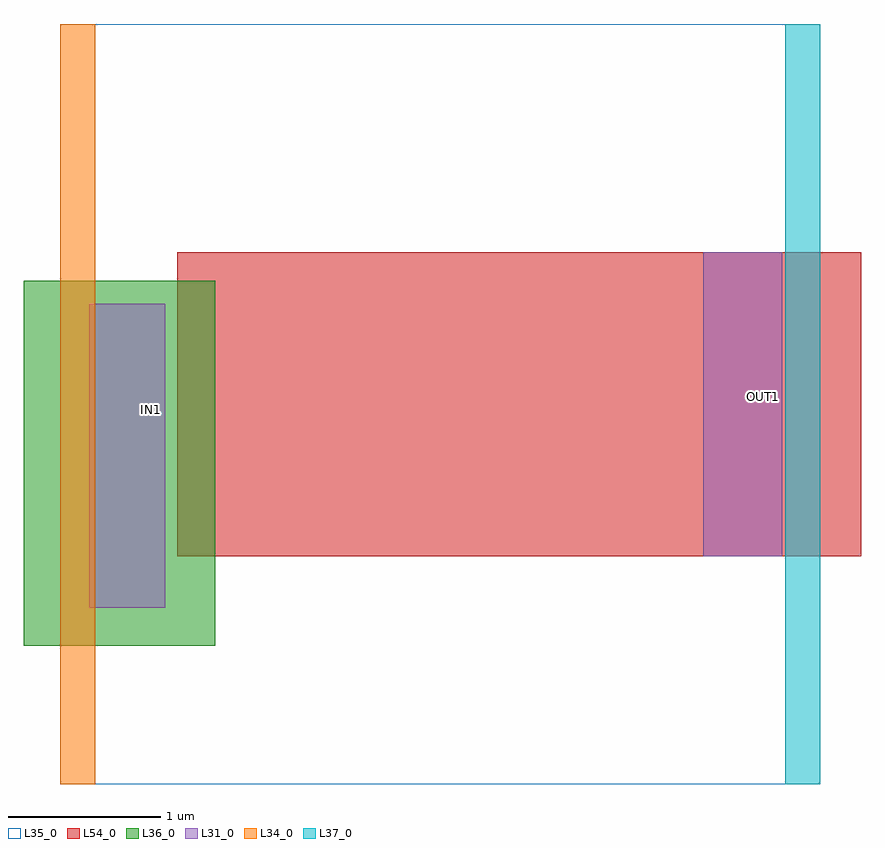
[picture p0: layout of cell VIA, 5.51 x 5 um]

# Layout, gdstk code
import gdstk
lib = gdstk.Library(unit=1e-6, precision=1e-09)
def R(c, l, rs):  # rectangles x0, y0, x1, y1
    for r in rs: c.add(gdstk.rectangle(r[:2], r[2:], *l))
L31_0 = (31, 0)
L34_0 = (34, 0)
L35_0 = (35, 0)
L36_0 = (36, 0)
L37_0 = (37, 0)
L54_0 = (54, 0)

via = lib.new_cell('VIA')
R(via, L31_0, [(-2.31,-1.34,-1.81,0.66), (1.73,-1,2.25,1)])
R(via, L34_0, [(-2.5,-2.5,-2.27,2.5)])
R(via, L35_0, [(-2.5,-2.5,2.5,2.5)])
R(via, L36_0, [(-2.74,-1.59,-1.48,0.81)])
R(via, L37_0, [(2.27,-2.5,2.5,2.5)])
R(via, L54_0, [(-1.73,-1,2.77,1)])
via.add(gdstk.Label('OUT1', (2.125,0.05), layer=131, texttype=0))
via.add(gdstk.Label('IN1', (-1.9,-0.035), layer=131, texttype=0))

lib.write_gds('VIA.gds')
